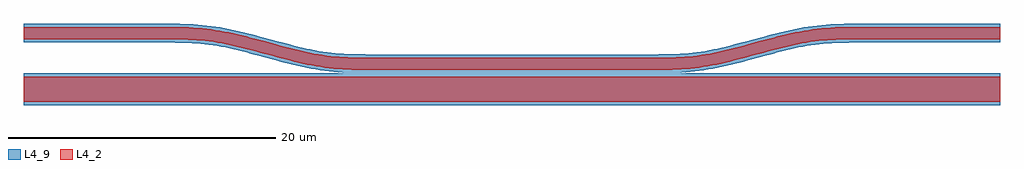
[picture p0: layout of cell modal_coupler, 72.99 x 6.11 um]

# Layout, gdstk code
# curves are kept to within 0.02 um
import gdstk
lib = gdstk.Library(unit=1e-6, precision=5e-09)
def R(c, l, rs):  # rectangles x0, y0, x1, y1
    for r in rs: c.add(gdstk.rectangle(r[:2], r[2:], *l))
def P(c, l, *ps):  # polygons
    for p in ps: c.add(gdstk.Polygon(p, *l))
L4_2 = (4, 2)
L4_9 = (4, 9)

directional_coupler_wg1a = lib.new_cell('Directional_coupler_wg1a')
R(directional_coupler_wg1a, L4_2, [(-10,-1.9,0,0)])
P(directional_coupler_wg1a, L4_9, [(-10,-2.15),(0,-2.15),(0,-1.9),(0,0),(0,0.25),(-10,0.25),(-10,0),(-10,-1.9)])

directional_coupler_wg2a = lib.new_cell('Directional_coupler_wg2a')
R(directional_coupler_wg2a, L4_2, [(-10,0.5,0,1.4)])
P(directional_coupler_wg2a, L4_9, [(-10,0.25),(0,0.25),(0,0.5),(0,1.4),(0,1.65),(-10,1.65),(-10,1.4),(-10,0.5)])

directional_coupler_wg1b = lib.new_cell('Directional_coupler_wg1b')
R(directional_coupler_wg1b, L4_2, [(0,-1.9,10,0)])
P(directional_coupler_wg1b, L4_9, [(0,-2.15),(10,-2.15),(10,-1.9),(10,0),(10,0.25),(0,0.25),(0,0),(0,-1.9)])

directional_coupler_wg2b = lib.new_cell('Directional_coupler_wg2b')
R(directional_coupler_wg2b, L4_2, [(0,0.5,10,1.4)])
P(directional_coupler_wg2b, L4_9, [(0,0.25),(10,0.25),(10,0.5),(10,1.4),(10,1.65),(0,1.65),(0,1.4),(0,0.5)])

directional_coupler = lib.new_cell('Directional_coupler')
directional_coupler.add(gdstk.Reference(directional_coupler_wg1a, (0,0)))
directional_coupler.add(gdstk.Reference(directional_coupler_wg2a, (0,0)))
directional_coupler.add(gdstk.Reference(directional_coupler_wg1b, (0,0)))
directional_coupler.add(gdstk.Reference(directional_coupler_wg2b, (0,0)))

modal_coupler_wg_in1 = lib.new_cell('modal_coupler_wg_in1')
R(modal_coupler_wg_in1, L4_2, [(-36.495,-1.9,-10,0)])
P(modal_coupler_wg_in1, L4_9, [(-10,0.25),(-36.495,0.25),(-36.495,0),(-36.495,-1.9),(-36.495,-2.15),(-10,-2.15),(-10,-1.9),(-10,0)])

modal_coupler_wg_in2 = lib.new_cell('modal_coupler_wg_in2')
P(modal_coupler_wg_in2, L4_2, [(-10,1.4),(-11.63,1.41),(-12.595,1.45),(-13.55,1.53),(-14.5,1.665),(-16.07,1.995),(-20.535,3.16),(-22.175,3.48),(-23.515,3.63),(-24.845,3.69),(-26.165,3.705),(-36.495,3.705),(-36.495,2.805),(-26.17,2.805),(-24.22,2.77),(-23.26,2.705),(-21.995,2.54),(-20.74,2.28),(-16.925,1.285),(-15.31,0.9),(-14.32,0.725),(-13.315,0.6),(-11.98,0.52),(-10,0.5)])
P(modal_coupler_wg_in2, L4_9, [(-10,1.65),(-11.625,1.66),(-12.58,1.7),(-13.525,1.78),(-14.455,1.91),(-16.015,2.24),(-19.83,3.245),(-20.805,3.475),(-22.14,3.73),(-23.495,3.88),(-24.84,3.94),(-26.165,3.955),(-36.495,3.955),(-36.495,2.555),(-26.17,2.555),(-24.87,2.54),(-23.6,2.485),(-22.66,2.39),(-21.415,2.175),(-20.48,1.965),(-16.02,0.8),(-14.695,0.53),(-13.34,0.35),(-11.99,0.27),(-10,0.25)])

modal_coupler_wg_out1 = lib.new_cell('modal_coupler_wg_out1')
R(modal_coupler_wg_out1, L4_2, [(10,-1.9,36.495,0)])
P(modal_coupler_wg_out1, L4_9, [(10,-2.15),(36.495,-2.15),(36.495,-1.9),(36.495,0),(36.495,0.25),(10,0.25),(10,0),(10,-1.9)])

modal_coupler_wg_out2 = lib.new_cell('modal_coupler_wg_out2')
P(modal_coupler_wg_out2, L4_2, [(10,0.5),(12.65,0.55),(13.65,0.635),(14.65,0.775),(15.96,1.045),(20.11,2.13),(21.05,2.35),(21.995,2.54),(23.26,2.705),(24.22,2.77),(26.17,2.805),(36.495,2.805),(36.495,3.705),(25.51,3.7),(24.18,3.67),(22.51,3.53),(21.515,3.365),(20.535,3.16),(16.07,1.995),(14.5,1.665),(13.55,1.53),(12.595,1.45),(11.63,1.41),(10,1.4)])
P(modal_coupler_wg_out2, L4_9, [(10,0.25),(12.665,0.3),(13.68,0.385),(14.695,0.53),(16.67,0.96),(19.54,1.725),(21.105,2.11),(22.35,2.345),(23.6,2.485),(24.87,2.54),(26.17,2.555),(36.495,2.555),(36.495,3.955),(24.84,3.94),(23.495,3.88),(22.14,3.73),(20.15,3.325),(16.015,2.24),(14.455,1.91),(13.525,1.78),(12.58,1.7),(11.625,1.66),(10,1.65)])

modal_coupler = lib.new_cell('modal_coupler')
modal_coupler.add(gdstk.Reference(directional_coupler, (0,0)))
modal_coupler.add(gdstk.Reference(modal_coupler_wg_in1, (0,0)))
modal_coupler.add(gdstk.Reference(modal_coupler_wg_in2, (0,0)))
modal_coupler.add(gdstk.Reference(modal_coupler_wg_out1, (0,0)))
modal_coupler.add(gdstk.Reference(modal_coupler_wg_out2, (0,0)))

lib.write_gds('modal_coupler.gds')
